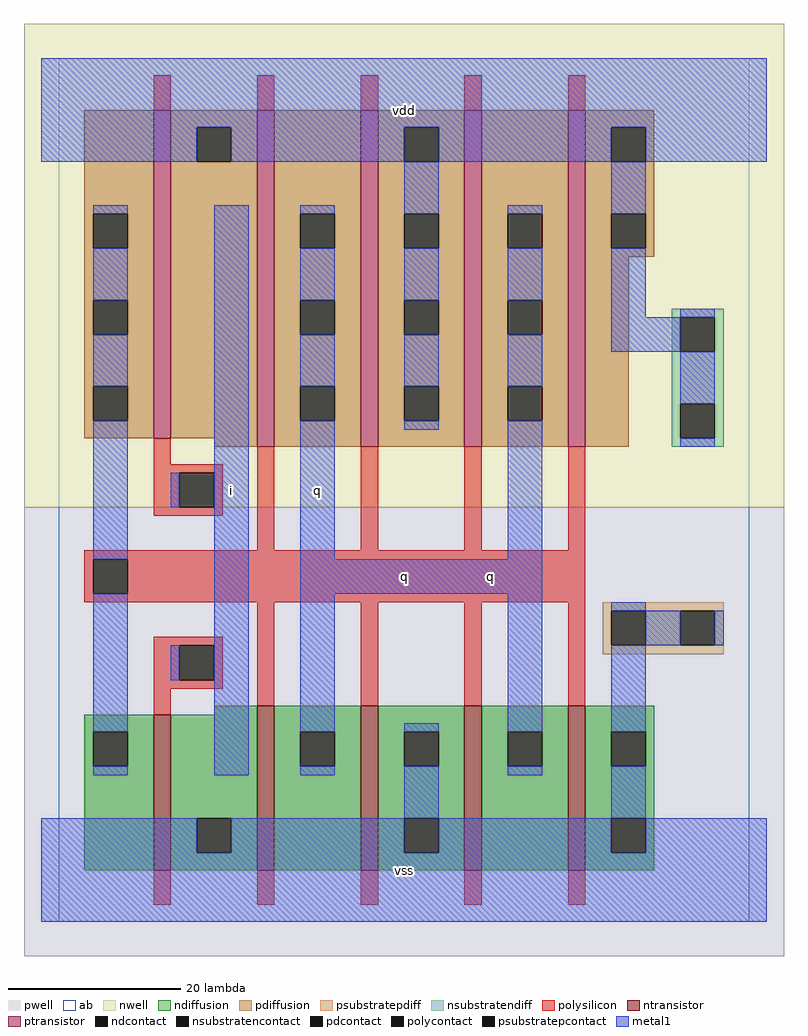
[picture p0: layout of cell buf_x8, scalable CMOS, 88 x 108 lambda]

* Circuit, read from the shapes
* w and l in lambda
.subckt buf_x8 i q vdd vss
M1 vss i n1 vss nfet w=18 l=2
M2 q n1 vss vss nfet w=19 l=2 m=4
M3 vdd i n1 vdd pfet w=38 l=2
M4 q n1 vdd vdd pfet w=39 l=2 m=4
.ends

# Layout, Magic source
magic
tech scmos
<< ab >>
rect 0 0 80 100
<< pwell >>
rect -4 -4 84 48
<< nwell >>
rect -4 48 84 104
<< polysilicon >>
rect 11 94 13 98
rect 23 94 25 98
rect 35 94 37 98
rect 47 94 49 98
rect 59 94 61 98
rect 11 53 13 56
rect 11 52 19 53
rect 11 48 14 52
rect 18 48 19 52
rect 11 47 19 48
rect 23 43 25 55
rect 35 43 37 55
rect 47 43 49 55
rect 59 43 61 55
rect 3 42 61 43
rect 3 38 4 42
rect 8 38 61 42
rect 3 37 61 38
rect 11 32 19 33
rect 11 28 14 32
rect 18 28 19 32
rect 11 27 19 28
rect 11 24 13 27
rect 23 25 25 37
rect 35 25 37 37
rect 47 25 49 37
rect 59 25 61 37
rect 11 2 13 6
rect 23 2 25 6
rect 35 2 37 6
rect 47 2 49 6
rect 59 2 61 6
<< ndiffusion >>
rect 18 24 23 25
rect 3 22 11 24
rect 3 18 4 22
rect 8 18 11 22
rect 3 6 11 18
rect 13 12 23 24
rect 13 8 16 12
rect 20 8 23 12
rect 13 6 23 8
rect 25 22 35 25
rect 25 18 28 22
rect 32 18 35 22
rect 25 6 35 18
rect 37 22 47 25
rect 37 18 40 22
rect 44 18 47 22
rect 37 12 47 18
rect 37 8 40 12
rect 44 8 47 12
rect 37 6 47 8
rect 49 22 59 25
rect 49 18 52 22
rect 56 18 59 22
rect 49 6 59 18
rect 61 22 69 25
rect 61 18 64 22
rect 68 18 69 22
rect 61 12 69 18
rect 61 8 64 12
rect 68 8 69 12
rect 61 6 69 8
<< pdiffusion >>
rect 3 82 11 94
rect 3 78 4 82
rect 8 78 11 82
rect 3 72 11 78
rect 3 68 4 72
rect 8 68 11 72
rect 3 62 11 68
rect 3 58 4 62
rect 8 58 11 62
rect 3 56 11 58
rect 13 92 23 94
rect 13 88 16 92
rect 20 88 23 92
rect 13 56 23 88
rect 18 55 23 56
rect 25 82 35 94
rect 25 78 28 82
rect 32 78 35 82
rect 25 72 35 78
rect 25 68 28 72
rect 32 68 35 72
rect 25 62 35 68
rect 25 58 28 62
rect 32 58 35 62
rect 25 55 35 58
rect 37 92 47 94
rect 37 88 40 92
rect 44 88 47 92
rect 37 82 47 88
rect 37 78 40 82
rect 44 78 47 82
rect 37 72 47 78
rect 37 68 40 72
rect 44 68 47 72
rect 37 62 47 68
rect 37 58 40 62
rect 44 58 47 62
rect 37 55 47 58
rect 49 82 59 94
rect 49 78 52 82
rect 56 78 59 82
rect 49 72 59 78
rect 49 68 52 72
rect 56 68 59 72
rect 49 62 59 68
rect 49 58 52 62
rect 56 58 59 62
rect 49 55 59 58
rect 61 92 69 94
rect 61 88 64 92
rect 68 88 69 92
rect 61 82 69 88
rect 61 78 64 82
rect 68 78 69 82
rect 61 77 69 78
rect 61 55 66 77
<< metal1 >>
rect -2 92 82 100
rect -2 88 16 92
rect 20 88 40 92
rect 44 88 64 92
rect 68 88 82 92
rect 4 82 8 83
rect 4 72 8 78
rect 4 62 8 68
rect 4 42 8 58
rect 13 48 14 52
rect 4 22 8 38
rect 13 28 14 32
rect 4 17 8 18
rect 18 17 22 83
rect 28 82 32 83
rect 28 72 32 78
rect 28 62 32 68
rect 28 42 32 58
rect 40 82 44 88
rect 40 72 44 78
rect 40 62 44 68
rect 40 57 44 58
rect 52 82 56 83
rect 52 72 56 78
rect 52 62 56 68
rect 64 82 68 88
rect 64 70 68 78
rect 72 70 76 71
rect 64 66 72 70
rect 52 42 56 58
rect 72 60 76 66
rect 72 55 76 56
rect 28 38 56 42
rect 28 22 32 38
rect 28 17 32 18
rect 40 22 44 23
rect 40 12 44 18
rect 52 22 56 38
rect 52 17 56 18
rect 64 36 68 37
rect 68 32 72 36
rect 76 32 77 36
rect 64 22 68 32
rect 64 12 68 18
rect -2 8 16 12
rect 20 8 40 12
rect 44 8 64 12
rect 68 8 82 12
rect -2 0 82 8
<< ntransistor >>
rect 11 6 13 24
rect 23 6 25 25
rect 35 6 37 25
rect 47 6 49 25
rect 59 6 61 25
<< ptransistor >>
rect 11 56 13 94
rect 23 55 25 94
rect 35 55 37 94
rect 47 55 49 94
rect 59 55 61 94
<< polycontact >>
rect 14 48 18 52
rect 4 38 8 42
rect 14 28 18 32
<< ndcontact >>
rect 4 18 8 22
rect 16 8 20 12
rect 28 18 32 22
rect 40 18 44 22
rect 40 8 44 12
rect 52 18 56 22
rect 64 18 68 22
rect 64 8 68 12
<< pdcontact >>
rect 4 78 8 82
rect 4 68 8 72
rect 4 58 8 62
rect 16 88 20 92
rect 28 78 32 82
rect 28 68 32 72
rect 28 58 32 62
rect 40 88 44 92
rect 40 78 44 82
rect 40 68 44 72
rect 40 58 44 62
rect 52 78 56 82
rect 52 68 56 72
rect 52 58 56 62
rect 64 88 68 92
rect 64 78 68 82
<< psubstratepcontact >>
rect 64 32 68 36
rect 72 32 76 36
<< nsubstratencontact >>
rect 72 66 76 70
rect 72 56 76 60
<< psubstratepdiff >>
rect 63 36 77 37
rect 63 32 64 36
rect 68 32 72 36
rect 76 32 77 36
rect 63 31 77 32
<< nsubstratendiff >>
rect 71 70 77 71
rect 71 66 72 70
rect 76 66 77 70
rect 71 60 77 66
rect 71 56 72 60
rect 76 56 77 60
rect 71 55 77 56
<< labels >>
rlabel metal1 30 50 30 50 6 q
rlabel metal1 20 50 20 50 6 i
rlabel metal1 40 6 40 6 6 vss
rlabel metal1 40 40 40 40 6 q
rlabel metal1 50 40 50 40 6 q
rlabel metal1 40 94 40 94 6 vdd
<< end >>
